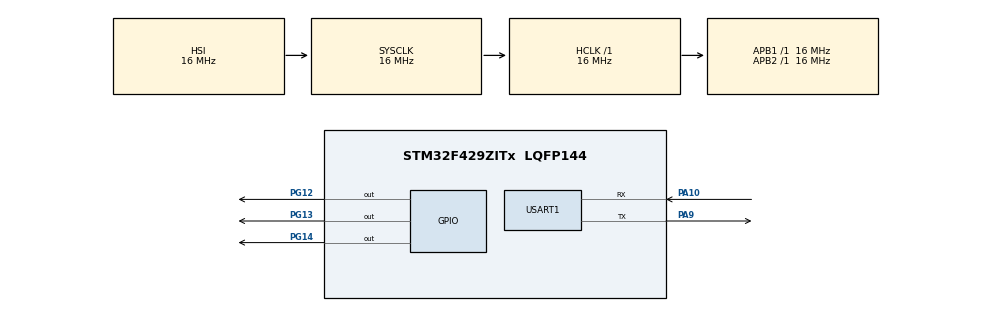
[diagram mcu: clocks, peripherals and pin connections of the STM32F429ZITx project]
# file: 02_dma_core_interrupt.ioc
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Dma.Request0=USART1_RX
Dma.USART1_RX.0.Direction=DMA_PERIPH_TO_MEMORY
Dma.USART1_RX.0.FIFOMode=DMA_FIFOMODE_DISABLE
Dma.USART1_RX.0.Instance=DMA2_Stream2
Dma.USART1_RX.0.MemDataAlignment=DMA_MDATAALIGN_BYTE
Dma.USART1_RX.0.MemInc=DMA_MINC_ENABLE
Dma.USART1_RX.0.Mode=DMA_NORMAL
Dma.USART1_RX.0.PeriphDataAlignment=DMA_PDATAALIGN_BYTE
Dma.USART1_RX.0.PeriphInc=DMA_PINC_DISABLE
Dma.USART1_RX.0.Priority=DMA_PRIORITY_LOW
Mcu.Family=STM32F4
Mcu.Name=STM32F429ZITx
Mcu.Package=LQFP144
NVIC.DMA2_Stream2_IRQn=true\:0\:0\:false\:false\:true\:false
NVIC.PriorityGroup=NVIC_PRIORITYGROUP_4
PA10.Mode=Asynchronous
PA10.Signal=USART1_RX
PA9.Mode=Asynchronous
PA9.Signal=USART1_TX
PG12.Signal=GPIO_Output
PG13.Signal=GPIO_Output
PG14.Signal=GPIO_Output
ProjectManager.HeapSize=0x200
ProjectManager.StackSize=0x400
ProjectManager.TargetToolchain=MDK-ARM V5
RCC.AHBFreq_Value=16000000
RCC.APB1Freq_Value=16000000
RCC.APB2Freq_Value=16000000
RCC.CortexFreq_Value=16000000
RCC.HSE_VALUE=25000000
RCC.HSI_VALUE=16000000
RCC.LSE_VALUE=32768
RCC.SYSCLKFreq_VALUE=16000000
RCC.VCOOutputFreq_Value=192000000
USART1.VirtualMode=VM_ASYNC
board=custom

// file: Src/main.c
/**
  ******************************************************************************
  * @file           : main.c
  * @brief          : Main program body
  ******************************************************************************
  ** This notice applies to any and all portions of this file
  * that are not between comment pairs USER CODE BEGIN and
  * USER CODE END. Other portions of this file, whether
  * inserted by the user or by software development tools
  * are owned by their respective copyright owners.
  *
  * COPYRIGHT(c) 2020 STMicroelectronics
  *
  * Redistribution and use in source and binary forms, with or without modification,
  * are permitted provided that the following conditions are met:
  *   1. Redistributions of source code must retain the above copyright notice,
  *      this list of conditions and the following disclaimer.
  *   2. Redistributions in binary form must reproduce the above copyright notice,
  *      this list of conditions and the following disclaimer in the documentation
  *      and/or other materials provided with the distribution.
  *   3. Neither the name of STMicroelectronics nor the names of its contributors
  *      may be used to endorse or promote products derived from this software
  *      without specific prior written permission.
  *
  * THIS SOFTWARE IS PROVIDED BY THE COPYRIGHT HOLDERS AND CONTRIBUTORS "AS IS"
  * AND ANY EXPRESS OR IMPLIED WARRANTIES, INCLUDING, BUT NOT LIMITED TO, THE
  * IMPLIED WARRANTIES OF MERCHANTABILITY AND FITNESS FOR A PARTICULAR PURPOSE ARE
  * DISCLAIMED. IN NO EVENT SHALL THE COPYRIGHT HOLDER OR CONTRIBUTORS BE LIABLE
  * FOR ANY DIRECT, INDIRECT, INCIDENTAL, SPECIAL, EXEMPLARY, OR CONSEQUENTIAL
  * DAMAGES (INCLUDING, BUT NOT LIMITED TO, PROCUREMENT OF SUBSTITUTE GOODS OR
  * SERVICES; LOSS OF USE, DATA, OR PROFITS; OR BUSINESS INTERRUPTION) HOWEVER
  * CAUSED AND ON ANY THEORY OF LIABILITY, WHETHER IN CONTRACT, STRICT LIABILITY,
  * OR TORT (INCLUDING NEGLIGENCE OR OTHERWISE) ARISING IN ANY WAY OUT OF THE USE
  * OF THIS SOFTWARE, EVEN IF ADVISED OF THE POSSIBILITY OF SUCH DAMAGE.
  *
  ******************************************************************************
  */
#include "main.h"
#include "stm32f4xx_hal.h"

UART_HandleTypeDef huart1;
DMA_HandleTypeDef hdma_usart1_rx;

/* USER CODE BEGIN PV */
/* Private variables ---------------------------------------------------------*/

/* USER CODE END PV */

void SystemClock_Config(void);
static void MX_GPIO_Init(void);
static void MX_DMA_Init(void);
static void MX_USART1_UART_Init(void);

/* USER CODE BEGIN PFP */
/* Private function prototypes -----------------------------------------------*/

/* USER CODE END PFP */

/* USER CODE BEGIN 0 */
uint8_t src_data[50];
#define OFF_SET  0X500
#define DEST_ADDRESS  (volatile uint8_t*)(SRAM1_BASE + OFF_SET)

void HAL_UART_RxCpltCallback(UART_HandleTypeDef *huart)
{
  /* Prevent unused argument(s) compilation warning */
  // UNUSED(huart);
	HAL_GPIO_WritePin(GPIOG, GPIO_PIN_14, GPIO_PIN_SET);
	HAL_GPIO_WritePin(GPIOG, GPIO_PIN_14, GPIO_PIN_RESET);

	HAL_UART_Receive_DMA(&huart1,(uint8_t*)SRAM2_BASE, 250);
  /* NOTE: This function Should not be modified, when the callback is needed,
           the HAL_UART_TxCpltCallback could be implemented in the user file
   */
}
/* USER CODE END 0 */

int main(void)
{
  /* USER CODE BEGIN 1 */
	uint32_t i=0;
  /* USER CODE END 1 */

  /* MCU Configuration----------------------------------------------------------*/

  /* Reset of all peripherals, Initializes the Flash interface and the Systick. */
  HAL_Init();

  /* Configure the system clock */
  SystemClock_Config();

  /* Initialize all configured peripherals */
  MX_GPIO_Init();
  MX_DMA_Init();
  MX_USART1_UART_Init();
  /* USER CODE BEGIN 2 */
	for( uint32_t i = 0 ; i < 50 ; i++)
	{
		src_data[i] = 0xAA;
	}

	// receive 250 bytes
	// HAL_UART_Receive_IT(&huart1,(uint8_t*)SRAM2_BASE, 250);
  HAL_UART_Receive_DMA(&huart1,(uint8_t*)SRAM2_BASE, 250);
  /* USER CODE END 2 */

  /* Infinite loop */
  while (1)
  {

  /* USER CODE BEGIN 3 */
		HAL_GPIO_WritePin(GPIOG,GPIO_PIN_13,GPIO_PIN_SET);

		for( i = 0 ; i < 50 ; i++)
		{
			*(DEST_ADDRESS+i) = src_data[i];

		}
		HAL_GPIO_WritePin(GPIOG,GPIO_PIN_13,GPIO_PIN_RESET);
  }
  /* USER CODE END 3 */

}

void SystemClock_Config(void)
{

  RCC_OscInitTypeDef RCC_OscInitStruct;
  RCC_ClkInitTypeDef RCC_ClkInitStruct;

    /**Configure the main internal regulator output voltage
    */
  __HAL_RCC_PWR_CLK_ENABLE();

  __HAL_PWR_VOLTAGESCALING_CONFIG(PWR_REGULATOR_VOLTAGE_SCALE3);

    /**Initializes the CPU, AHB and APB busses clocks
    */
  RCC_OscInitStruct.OscillatorType = RCC_OSCILLATORTYPE_HSI;
  RCC_OscInitStruct.HSIState = RCC_HSI_ON;
  RCC_OscInitStruct.HSICalibrationValue = 16;
  RCC_OscInitStruct.PLL.PLLState = RCC_PLL_NONE;
  if (HAL_RCC_OscConfig(&RCC_OscInitStruct) != HAL_OK)
  {
    _Error_Handler(__FILE__, __LINE__);
  }

    /**Initializes the CPU, AHB and APB busses clocks
    */
  RCC_ClkInitStruct.ClockType = RCC_CLOCKTYPE_HCLK|RCC_CLOCKTYPE_SYSCLK
                              |RCC_CLOCKTYPE_PCLK1|RCC_CLOCKTYPE_PCLK2;
  RCC_ClkInitStruct.SYSCLKSource = RCC_SYSCLKSOURCE_HSI;
  RCC_ClkInitStruct.AHBCLKDivider = RCC_SYSCLK_DIV1;
  RCC_ClkInitStruct.APB1CLKDivider = RCC_HCLK_DIV1;
  RCC_ClkInitStruct.APB2CLKDivider = RCC_HCLK_DIV1;

  if (HAL_RCC_ClockConfig(&RCC_ClkInitStruct, FLASH_LATENCY_0) != HAL_OK)
  {
    _Error_Handler(__FILE__, __LINE__);
  }

    /**Configure the Systick interrupt time
    */
  HAL_SYSTICK_Config(HAL_RCC_GetHCLKFreq()/1000);

    /**Configure the Systick
    */
  HAL_SYSTICK_CLKSourceConfig(SYSTICK_CLKSOURCE_HCLK);

  /* SysTick_IRQn interrupt configuration */
  HAL_NVIC_SetPriority(SysTick_IRQn, 0, 0);
}

/* USART1 init function */
static void MX_USART1_UART_Init(void)
{

  huart1.Instance = USART1;
  huart1.Init.BaudRate = 115200;
  huart1.Init.WordLength = UART_WORDLENGTH_8B;
  huart1.Init.StopBits = UART_STOPBITS_1;
  huart1.Init.Parity = UART_PARITY_NONE;
  huart1.Init.Mode = UART_MODE_TX_RX;
  huart1.Init.HwFlowCtl = UART_HWCONTROL_NONE;
  huart1.Init.OverSampling = UART_OVERSAMPLING_16;
  if (HAL_UART_Init(&huart1) != HAL_OK)
  {
    _Error_Handler(__FILE__, __LINE__);
  }

}

static void MX_DMA_Init(void)
{
  /* DMA controller clock enable */
  __HAL_RCC_DMA2_CLK_ENABLE();

  /* DMA interrupt init */
  /* DMA2_Stream2_IRQn interrupt configuration */
  HAL_NVIC_SetPriority(DMA2_Stream2_IRQn, 0, 0);
  HAL_NVIC_EnableIRQ(DMA2_Stream2_IRQn);

}

/** Configure pins as
        * Analog
        * Input
        * Output
        * EVENT_OUT
        * EXTI
*/
static void MX_GPIO_Init(void)
{

  GPIO_InitTypeDef GPIO_InitStruct;

  /* GPIO Ports Clock Enable */
  __HAL_RCC_GPIOA_CLK_ENABLE();
  __HAL_RCC_GPIOG_CLK_ENABLE();

  /*Configure GPIO pin Output Level */
  HAL_GPIO_WritePin(GPIOG, GPIO_PIN_12|GPIO_PIN_13|GPIO_PIN_14, GPIO_PIN_RESET);

  /*Configure GPIO pins : PG12 PG13 PG14 */
  GPIO_InitStruct.Pin = GPIO_PIN_12|GPIO_PIN_13|GPIO_PIN_14;
  GPIO_InitStruct.Mode = GPIO_MODE_OUTPUT_PP;
  GPIO_InitStruct.Pull = GPIO_NOPULL;
  GPIO_InitStruct.Speed = GPIO_SPEED_FREQ_LOW;
  HAL_GPIO_Init(GPIOG, &GPIO_InitStruct);

}

void _Error_Handler(char *file, int line)
{
  while(1)
  {
  }
}

/************************ (C) COPYRIGHT STMicroelectronics *****END OF FILE****/
